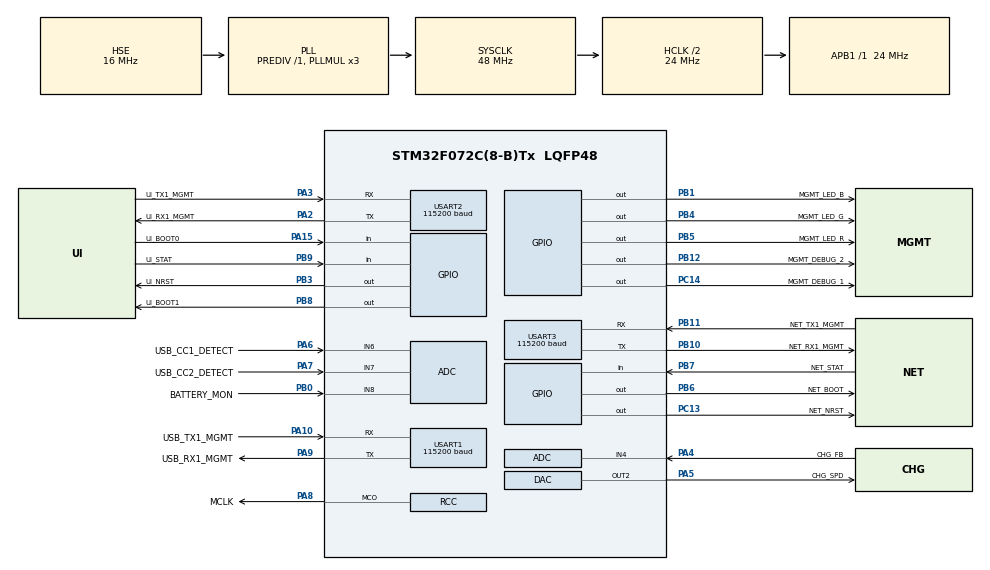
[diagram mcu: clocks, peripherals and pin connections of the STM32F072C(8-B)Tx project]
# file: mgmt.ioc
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Dma.Request0=USART2_RX
Dma.Request1=USART2_TX
Dma.Request2=USART3_RX
Dma.Request3=USART3_TX
Dma.Request4=USART1_RX
Dma.Request5=USART1_TX
Dma.USART1_RX.4.Direction=DMA_PERIPH_TO_MEMORY
Dma.USART1_RX.4.Instance=DMA1_Channel3
Dma.USART1_RX.4.MemDataAlignment=DMA_MDATAALIGN_BYTE
Dma.USART1_RX.4.MemInc=DMA_MINC_ENABLE
Dma.USART1_RX.4.Mode=DMA_CIRCULAR
Dma.USART1_RX.4.PeriphDataAlignment=DMA_PDATAALIGN_BYTE
Dma.USART1_RX.4.PeriphInc=DMA_PINC_DISABLE
Dma.USART1_RX.4.Priority=DMA_PRIORITY_LOW
Dma.USART1_TX.5.Direction=DMA_MEMORY_TO_PERIPH
Dma.USART1_TX.5.Instance=DMA1_Channel2
Dma.USART1_TX.5.MemDataAlignment=DMA_MDATAALIGN_BYTE
Dma.USART1_TX.5.MemInc=DMA_MINC_ENABLE
Dma.USART1_TX.5.Mode=DMA_NORMAL
Dma.USART1_TX.5.PeriphDataAlignment=DMA_PDATAALIGN_BYTE
Dma.USART1_TX.5.PeriphInc=DMA_PINC_DISABLE
Dma.USART1_TX.5.Priority=DMA_PRIORITY_LOW
Dma.USART2_RX.0.Direction=DMA_PERIPH_TO_MEMORY
Dma.USART2_RX.0.Instance=DMA1_Channel5
Dma.USART2_RX.0.MemDataAlignment=DMA_MDATAALIGN_BYTE
Dma.USART2_RX.0.MemInc=DMA_MINC_ENABLE
Dma.USART2_RX.0.Mode=DMA_CIRCULAR
Dma.USART2_RX.0.PeriphDataAlignment=DMA_PDATAALIGN_BYTE
Dma.USART2_RX.0.PeriphInc=DMA_PINC_DISABLE
Dma.USART2_RX.0.Priority=DMA_PRIORITY_LOW
Dma.USART2_TX.1.Direction=DMA_MEMORY_TO_PERIPH
Dma.USART2_TX.1.Instance=DMA1_Channel4
Dma.USART2_TX.1.MemDataAlignment=DMA_MDATAALIGN_BYTE
Dma.USART2_TX.1.MemInc=DMA_MINC_ENABLE
Dma.USART2_TX.1.Mode=DMA_NORMAL
Dma.USART2_TX.1.PeriphDataAlignment=DMA_PDATAALIGN_BYTE
Dma.USART2_TX.1.PeriphInc=DMA_PINC_DISABLE
Dma.USART2_TX.1.Priority=DMA_PRIORITY_LOW
Dma.USART3_RX.2.Direction=DMA_PERIPH_TO_MEMORY
Dma.USART3_RX.2.Instance=DMA1_Channel6
Dma.USART3_RX.2.MemDataAlignment=DMA_MDATAALIGN_BYTE
Dma.USART3_RX.2.MemInc=DMA_MINC_ENABLE
Dma.USART3_RX.2.Mode=DMA_CIRCULAR
Dma.USART3_RX.2.PeriphDataAlignment=DMA_PDATAALIGN_BYTE
Dma.USART3_RX.2.PeriphInc=DMA_PINC_DISABLE
Dma.USART3_RX.2.Priority=DMA_PRIORITY_LOW
Dma.USART3_TX.3.Direction=DMA_MEMORY_TO_PERIPH
Dma.USART3_TX.3.Instance=DMA1_Channel7
Dma.USART3_TX.3.MemDataAlignment=DMA_MDATAALIGN_BYTE
Dma.USART3_TX.3.MemInc=DMA_MINC_ENABLE
Dma.USART3_TX.3.Mode=DMA_NORMAL
Dma.USART3_TX.3.PeriphDataAlignment=DMA_PDATAALIGN_BYTE
Dma.USART3_TX.3.PeriphInc=DMA_PINC_DISABLE
Dma.USART3_TX.3.Priority=DMA_PRIORITY_LOW
Mcu.Family=STM32F0
Mcu.Name=STM32F072C(8-B)Tx
Mcu.Package=LQFP48
NVIC.DMA1_Channel2_3_IRQn=true\:0\:0\:false\:false\:true\:false\:true\:true
NVIC.DMA1_Channel4_5_6_7_IRQn=true\:0\:0\:false\:false\:true\:false\:true\:true
NVIC.USART1_IRQn=true\:0\:0\:false\:false\:true\:true\:true\:true
NVIC.USART2_IRQn=true\:0\:0\:false\:false\:true\:true\:true\:true
NVIC.USART3_4_IRQn=true\:0\:0\:false\:false\:true\:true\:true\:true
PA10.GPIO_Label=USB_TX1_MGMT
PA10.Mode=Asynchronous
PA10.Signal=USART1_RX
PA13.Mode=Serial_Wire
PA13.Signal=SYS_SWDIO
PA14.Mode=Serial_Wire
PA14.Signal=SYS_SWCLK
PA15.GPIO_Label=UI_BOOT0
PA15.Signal=GPIO_Input
PA2.GPIO_Label=UI_RX1_MGMT
PA2.Mode=Asynchronous
PA2.Signal=USART2_TX
PA3.GPIO_Label=UI_TX1_MGMT
PA3.Mode=Asynchronous
PA3.Signal=USART2_RX
PA4.GPIO_Label=CHG_FB
PA4.Mode=IN4
PA4.Signal=ADC_IN4
PA5.GPIO_Label=CHG_SPD
PA5.Signal=COMP_DAC2_group
PA6.GPIO_Label=USB_CC1_DETECT
PA6.Mode=IN6
PA6.Signal=ADC_IN6
PA7.GPIO_Label=USB_CC2_DETECT
PA7.Mode=IN7
PA7.Signal=ADC_IN7
PA8.GPIO_Label=MCLK
PA8.Mode=Clock-out
PA8.Signal=RCC_MCO
PA9.GPIO_Label=USB_RX1_MGMT
PA9.Mode=Asynchronous
PA9.Signal=USART1_TX
PB0.GPIO_Label=BATTERY_MON
PB0.Mode=IN8
PB0.Signal=ADC_IN8
PB1.GPIO_Label=MGMT_LED_B
PB1.Signal=GPIO_Output
PB10.GPIO_Label=NET_RX1_MGMT
PB10.Mode=Asynchronous
PB10.Signal=USART3_TX
PB11.GPIO_Label=NET_TX1_MGMT
PB11.Mode=Asynchronous
PB11.Signal=USART3_RX
PB12.GPIO_Label=MGMT_DEBUG_2
PB12.Signal=GPIO_Output
PB3.GPIO_Label=UI_NRST
PB3.Signal=GPIO_Output
PB4.GPIO_Label=MGMT_LED_G
PB4.Signal=GPIO_Output
PB5.GPIO_Label=MGMT_LED_R
PB5.Signal=GPIO_Output
PB6.GPIO_Label=NET_BOOT
PB6.Signal=GPIO_Output
PB7.GPIO_Label=NET_STAT
PB7.Signal=GPIO_Input
PB8.GPIO_Label=UI_BOOT1
PB8.Signal=GPIO_Output
PB9.GPIO_Label=UI_STAT
PB9.Signal=GPIO_Input
PC13.GPIO_Label=NET_NRST
PC13.Signal=GPIO_Output
PC14-OSC32_IN.GPIO_Label=MGMT_DEBUG_1
PC14-OSC32_IN.Signal=GPIO_Output
PF0-OSC_IN.Mode=HSE-External-Oscillator
PF0-OSC_IN.Signal=RCC_OSC_IN
PF1-OSC_OUT.Mode=HSE-External-Oscillator
PF1-OSC_OUT.Signal=RCC_OSC_OUT
ProjectManager.HeapSize=0x200
ProjectManager.StackSize=0x400
ProjectManager.TargetToolchain=Makefile
RCC.AHBCLKDivider=RCC_SYSCLK_DIV2
RCC.AHBFreq_Value=24000000
RCC.APB1Freq_Value=24000000
RCC.APB1TimFreq_Value=24000000
RCC.HCLKFreq_Value=24000000
RCC.HSE_VALUE=16000000
RCC.PLLMUL=RCC_PLL_MUL3
RCC.PLLSourceVirtual=RCC_PLLSOURCE_HSE
RCC.RCC_MCOMult_Clock_Source_FROM_PLLMUL=RCC_MCO1SOURCE_PLLCLK_DIV2
RCC.RCC_MCOSource=RCC_MCO1SOURCE_PLLCLK_DIV2
RCC.SYSCLKFreq_VALUE=48000000
RCC.SYSCLKSource=RCC_SYSCLKSOURCE_PLLCLK
SH.COMP_DAC2_group.0=DAC_OUT2,DAC_OUT2
TIM3.Period=48000
TIM3.Prescaler=0
USART1.BaudRate=115200
USART1.VirtualMode-Asynchronous=VM_ASYNC
USART2.BaudRate=115200
USART2.Parity=PARITY_EVEN
USART2.VirtualMode-Asynchronous=VM_ASYNC
USART2.WordLength=WORDLENGTH_9B
USART3.BaudRate=115200
USART3.Parity=PARITY_NONE
USART3.VirtualMode-Asynchronous=VM_ASYNC
USART3.WordLength=WORDLENGTH_8B
VP_TIM3_VS_ClockSourceITR.Mode=TriggerSource_ITR0
board=custom

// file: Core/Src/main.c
/* USER CODE BEGIN Header */
/**
 ******************************************************************************
 * @file           : main.c
 * @brief          : Main program body
 ******************************************************************************
 * @attention
 *
 * Copyright (c) 2024 STMicroelectronics.
 * All rights reserved.
 *
 * This software is licensed under terms that can be found in the LICENSE file
 * in the root directory of this software component.
 * If no LICENSE file comes with this software, it is provided AS-IS.
 *
 ******************************************************************************
 */
/* USER CODE END Header */
#include "main.h"

ADC_HandleTypeDef hadc;

DAC_HandleTypeDef hdac;

TIM_HandleTypeDef htim3;

UART_HandleTypeDef huart1;
UART_HandleTypeDef huart2;
UART_HandleTypeDef huart3;
DMA_HandleTypeDef hdma_usart1_rx;
DMA_HandleTypeDef hdma_usart1_tx;
DMA_HandleTypeDef hdma_usart2_rx;
DMA_HandleTypeDef hdma_usart2_tx;
DMA_HandleTypeDef hdma_usart3_rx;
DMA_HandleTypeDef hdma_usart3_tx;

void SystemClock_Config(void);
static void MX_GPIO_Init(void);
static void MX_DMA_Init(void);
static void MX_TIM3_Init(void);
static void MX_USART2_UART_Init(void);
static void MX_USART3_UART_Init(void);
static void MX_USART1_UART_Init(void);
static void MX_ADC_Init(void);
static void MX_DAC_Init(void);
/* USER CODE BEGIN PFP */

GPIO_TypeDef* PortA()
{
    return GPIOA;
}

GPIO_TypeDef* PortB()
{
    return GPIOB;
}

GPIO_TypeDef* PortC()
{
    return GPIOC;
}

const gpio_t led_r()
{
    return (gpio_t){MGMT_LED_R_GPIO_Port, MGMT_LED_R_Pin};
}

const gpio_t led_g()
{
    return (gpio_t){MGMT_LED_G_GPIO_Port, MGMT_LED_G_Pin};
}

const gpio_t led_b()
{
    return (gpio_t){MGMT_LED_B_GPIO_Port, MGMT_LED_B_Pin};
}

UART_HandleTypeDef* usb_uart()
{
    return &huart1;
}

UART_HandleTypeDef* ui_uart()
{
    return &huart2;
}

UART_HandleTypeDef* net_uart()
{
    return &huart3;
}

int app_main(void);

/* USER CODE END PFP */

int main(void)
{

    /* MCU Configuration--------------------------------------------------------*/

    /* Reset of all peripherals, Initializes the Flash interface and the Systick. */
    HAL_Init();

    /* Configure the system clock */
    SystemClock_Config();

    /* Initialize all configured peripherals */
    MX_GPIO_Init();
    MX_DMA_Init();
    MX_TIM3_Init();
    MX_USART2_UART_Init();
    MX_USART3_UART_Init();
    MX_USART1_UART_Init();
    MX_ADC_Init();
    MX_DAC_Init();

    /* Infinite loop */
    /* USER CODE BEGIN WHILE */

    HAL_GPIO_WritePin(MGMT_LED_R_GPIO_Port, MGMT_LED_R_Pin, GPIO_PIN_RESET);
    HAL_GPIO_WritePin(MGMT_LED_G_GPIO_Port, MGMT_LED_G_Pin, GPIO_PIN_SET);
    HAL_GPIO_WritePin(MGMT_LED_B_GPIO_Port, MGMT_LED_B_Pin, GPIO_PIN_SET);
    while (1)
    {
        /* USER CODE END WHILE */

        /* USER CODE BEGIN 3 */
        app_main();

        HAL_Delay(10);
    }
    /* USER CODE END 3 */
}

void SystemClock_Config(void)
{
    RCC_OscInitTypeDef RCC_OscInitStruct = {0};
    RCC_ClkInitTypeDef RCC_ClkInitStruct = {0};
    RCC_PeriphCLKInitTypeDef PeriphClkInit = {0};

    /** Initializes the RCC Oscillators according to the specified parameters
     * in the RCC_OscInitTypeDef structure.
     */
    RCC_OscInitStruct.OscillatorType = RCC_OSCILLATORTYPE_HSI14 | RCC_OSCILLATORTYPE_HSE;
    RCC_OscInitStruct.HSEState = RCC_HSE_ON;
    RCC_OscInitStruct.HSI14State = RCC_HSI14_ON;
    RCC_OscInitStruct.HSI14CalibrationValue = 16;
    RCC_OscInitStruct.PLL.PLLState = RCC_PLL_ON;
    RCC_OscInitStruct.PLL.PLLSource = RCC_PLLSOURCE_HSE;
    RCC_OscInitStruct.PLL.PLLMUL = RCC_PLL_MUL3;
    RCC_OscInitStruct.PLL.PREDIV = RCC_PREDIV_DIV1;
    if (HAL_RCC_OscConfig(&RCC_OscInitStruct) != HAL_OK)
    {
        Error_Handler();
    }

    /** Initializes the CPU, AHB and APB buses clocks
     */
    RCC_ClkInitStruct.ClockType = RCC_CLOCKTYPE_HCLK | RCC_CLOCKTYPE_SYSCLK | RCC_CLOCKTYPE_PCLK1;
    RCC_ClkInitStruct.SYSCLKSource = RCC_SYSCLKSOURCE_PLLCLK;
    RCC_ClkInitStruct.AHBCLKDivider = RCC_SYSCLK_DIV2;
    RCC_ClkInitStruct.APB1CLKDivider = RCC_HCLK_DIV1;

    if (HAL_RCC_ClockConfig(&RCC_ClkInitStruct, FLASH_LATENCY_1) != HAL_OK)
    {
        Error_Handler();
    }
    PeriphClkInit.PeriphClockSelection = RCC_PERIPHCLK_USART1 | RCC_PERIPHCLK_USART2;
    PeriphClkInit.Usart1ClockSelection = RCC_USART1CLKSOURCE_PCLK1;
    PeriphClkInit.Usart2ClockSelection = RCC_USART2CLKSOURCE_PCLK1;
    if (HAL_RCCEx_PeriphCLKConfig(&PeriphClkInit) != HAL_OK)
    {
        Error_Handler();
    }
    HAL_RCC_MCOConfig(RCC_MCO, RCC_MCO1SOURCE_PLLCLK_DIV2, RCC_MCODIV_1);
}

static void MX_ADC_Init(void)
{

    ADC_ChannelConfTypeDef sConfig = {0};

    /** Configure the global features of the ADC (Clock, Resolution, Data Alignment and number of
     * conversion)
     */
    hadc.Instance = ADC1;
    hadc.Init.ClockPrescaler = ADC_CLOCK_ASYNC_DIV1;
    hadc.Init.Resolution = ADC_RESOLUTION_12B;
    hadc.Init.DataAlign = ADC_DATAALIGN_RIGHT;
    hadc.Init.ScanConvMode = ADC_SCAN_DIRECTION_FORWARD;
    hadc.Init.EOCSelection = ADC_EOC_SINGLE_CONV;
    hadc.Init.LowPowerAutoWait = DISABLE;
    hadc.Init.LowPowerAutoPowerOff = DISABLE;
    hadc.Init.ContinuousConvMode = DISABLE;
    hadc.Init.DiscontinuousConvMode = DISABLE;
    hadc.Init.ExternalTrigConv = ADC_SOFTWARE_START;
    hadc.Init.ExternalTrigConvEdge = ADC_EXTERNALTRIGCONVEDGE_NONE;
    hadc.Init.DMAContinuousRequests = DISABLE;
    hadc.Init.Overrun = ADC_OVR_DATA_PRESERVED;
    if (HAL_ADC_Init(&hadc) != HAL_OK)
    {
        Error_Handler();
    }

    /** Configure for the selected ADC regular channel to be converted.
     */
    sConfig.Channel = ADC_CHANNEL_4;
    sConfig.Rank = ADC_RANK_CHANNEL_NUMBER;
    sConfig.SamplingTime = ADC_SAMPLETIME_1CYCLE_5;
    if (HAL_ADC_ConfigChannel(&hadc, &sConfig) != HAL_OK)
    {
        Error_Handler();
    }

    /** Configure for the selected ADC regular channel to be converted.
     */
    sConfig.Channel = ADC_CHANNEL_6;
    if (HAL_ADC_ConfigChannel(&hadc, &sConfig) != HAL_OK)
    {
        Error_Handler();
    }

    /** Configure for the selected ADC regular channel to be converted.
     */
    sConfig.Channel = ADC_CHANNEL_7;
    if (HAL_ADC_ConfigChannel(&hadc, &sConfig) != HAL_OK)
    {
        Error_Handler();
    }

    /** Configure for the selected ADC regular channel to be converted.
     */
    sConfig.Channel = ADC_CHANNEL_8;
    if (HAL_ADC_ConfigChannel(&hadc, &sConfig) != HAL_OK)
    {
        Error_Handler();
    }
}

static void MX_DAC_Init(void)
{

    DAC_ChannelConfTypeDef sConfig = {0};

    /** DAC Initialization
     */
    hdac.Instance = DAC;
    if (HAL_DAC_Init(&hdac) != HAL_OK)
    {
        Error_Handler();
    }

    /** DAC channel OUT2 config
     */
    sConfig.DAC_Trigger = DAC_TRIGGER_NONE;
    sConfig.DAC_OutputBuffer = DAC_OUTPUTBUFFER_ENABLE;
    if (HAL_DAC_ConfigChannel(&hdac, &sConfig, DAC_CHANNEL_2) != HAL_OK)
    {
        Error_Handler();
    }
}

static void MX_TIM3_Init(void)
{

    TIM_SlaveConfigTypeDef sSlaveConfig = {0};
    TIM_MasterConfigTypeDef sMasterConfig = {0};

    htim3.Instance = TIM3;
    htim3.Init.Prescaler = 0;
    htim3.Init.CounterMode = TIM_COUNTERMODE_UP;
    htim3.Init.Period = 48000;
    htim3.Init.ClockDivision = TIM_CLOCKDIVISION_DIV1;
    htim3.Init.AutoReloadPreload = TIM_AUTORELOAD_PRELOAD_DISABLE;
    if (HAL_TIM_Base_Init(&htim3) != HAL_OK)
    {
        Error_Handler();
    }
    sSlaveConfig.SlaveMode = TIM_SLAVEMODE_DISABLE;
    sSlaveConfig.InputTrigger = TIM_TS_ITR0;
    if (HAL_TIM_SlaveConfigSynchro(&htim3, &sSlaveConfig) != HAL_OK)
    {
        Error_Handler();
    }
    sMasterConfig.MasterOutputTrigger = TIM_TRGO_RESET;
    sMasterConfig.MasterSlaveMode = TIM_MASTERSLAVEMODE_DISABLE;
    if (HAL_TIMEx_MasterConfigSynchronization(&htim3, &sMasterConfig) != HAL_OK)
    {
        Error_Handler();
    }
}

static void MX_USART1_UART_Init(void)
{

    huart1.Instance = USART1;
    huart1.Init.BaudRate = 115200;
    huart1.Init.WordLength = UART_WORDLENGTH_8B;
    huart1.Init.StopBits = UART_STOPBITS_1;
    huart1.Init.Parity = UART_PARITY_NONE;
    huart1.Init.Mode = UART_MODE_TX_RX;
    huart1.Init.HwFlowCtl = UART_HWCONTROL_NONE;
    huart1.Init.OverSampling = UART_OVERSAMPLING_16;
    huart1.Init.OneBitSampling = UART_ONE_BIT_SAMPLE_DISABLE;
    huart1.AdvancedInit.AdvFeatureInit = UART_ADVFEATURE_NO_INIT;
    if (HAL_UART_Init(&huart1) != HAL_OK)
    {
        Error_Handler();
    }
}

static void MX_USART2_UART_Init(void)
{

    huart2.Instance = USART2;
    huart2.Init.BaudRate = 115200;
    huart2.Init.WordLength = UART_WORDLENGTH_9B;
    huart2.Init.StopBits = UART_STOPBITS_1;
    huart2.Init.Parity = UART_PARITY_EVEN;
    huart2.Init.Mode = UART_MODE_TX_RX;
    huart2.Init.HwFlowCtl = UART_HWCONTROL_NONE;
    huart2.Init.OverSampling = UART_OVERSAMPLING_16;
    huart2.Init.OneBitSampling = UART_ONE_BIT_SAMPLE_DISABLE;
    huart2.AdvancedInit.AdvFeatureInit = UART_ADVFEATURE_NO_INIT;
    if (HAL_UART_Init(&huart2) != HAL_OK)
    {
        Error_Handler();
    }
}

static void MX_USART3_UART_Init(void)
{

    huart3.Instance = USART3;
    huart3.Init.BaudRate = 115200;
    huart3.Init.WordLength = UART_WORDLENGTH_8B;
    huart3.Init.StopBits = UART_STOPBITS_1;
    huart3.Init.Parity = UART_PARITY_NONE;
    huart3.Init.Mode = UART_MODE_TX_RX;
    huart3.Init.HwFlowCtl = UART_HWCONTROL_NONE;
    huart3.Init.OverSampling = UART_OVERSAMPLING_16;
    huart3.Init.OneBitSampling = UART_ONE_BIT_SAMPLE_DISABLE;
    huart3.AdvancedInit.AdvFeatureInit = UART_ADVFEATURE_NO_INIT;
    if (HAL_UART_Init(&huart3) != HAL_OK)
    {
        Error_Handler();
    }
}

static void MX_DMA_Init(void)
{

    /* DMA controller clock enable */
    __HAL_RCC_DMA1_CLK_ENABLE();

    /* DMA interrupt init */
    /* DMA1_Channel2_3_IRQn interrupt configuration */
    HAL_NVIC_SetPriority(DMA1_Channel2_3_IRQn, 0, 0);
    HAL_NVIC_EnableIRQ(DMA1_Channel2_3_IRQn);
    /* DMA1_Channel4_5_6_7_IRQn interrupt configuration */
    HAL_NVIC_SetPriority(DMA1_Channel4_5_6_7_IRQn, 0, 0);
    HAL_NVIC_EnableIRQ(DMA1_Channel4_5_6_7_IRQn);
}

static void MX_GPIO_Init(void)
{
    GPIO_InitTypeDef GPIO_InitStruct = {0};

    /* GPIO Ports Clock Enable */
    __HAL_RCC_GPIOC_CLK_ENABLE();
    __HAL_RCC_GPIOF_CLK_ENABLE();
    __HAL_RCC_GPIOA_CLK_ENABLE();
    __HAL_RCC_GPIOB_CLK_ENABLE();

    /*Configure GPIO pin Output Level */
    HAL_GPIO_WritePin(GPIOC, NET_NRST_Pin | MGMT_DEBUG_1_Pin, GPIO_PIN_RESET);

    /*Configure GPIO pin Output Level */
    HAL_GPIO_WritePin(GPIOB,
                      MGMT_LED_B_Pin | MGMT_DEBUG_2_Pin | UI_NRST_Pin | MGMT_LED_G_Pin
                          | MGMT_LED_R_Pin | NET_BOOT_Pin | UI_BOOT1_Pin,
                      GPIO_PIN_RESET);

    /*Configure GPIO pins : NET_NRST_Pin MGMT_DEBUG_1_Pin */
    GPIO_InitStruct.Pin = NET_NRST_Pin | MGMT_DEBUG_1_Pin;
    GPIO_InitStruct.Mode = GPIO_MODE_OUTPUT_PP;
    GPIO_InitStruct.Pull = GPIO_NOPULL;
    GPIO_InitStruct.Speed = GPIO_SPEED_FREQ_LOW;
    HAL_GPIO_Init(GPIOC, &GPIO_InitStruct);

    /*Configure GPIO pins : MGMT_LED_B_Pin MGMT_DEBUG_2_Pin UI_NRST_Pin MGMT_LED_G_Pin
                             MGMT_LED_R_Pin NET_BOOT_Pin UI_BOOT1_Pin */
    GPIO_InitStruct.Pin = MGMT_LED_B_Pin | MGMT_DEBUG_2_Pin | UI_NRST_Pin | MGMT_LED_G_Pin
                        | MGMT_LED_R_Pin | NET_BOOT_Pin | UI_BOOT1_Pin;
    GPIO_InitStruct.Mode = GPIO_MODE_OUTPUT_PP;
    GPIO_InitStruct.Pull = GPIO_NOPULL;
    GPIO_InitStruct.Speed = GPIO_SPEED_FREQ_LOW;
    HAL_GPIO_Init(GPIOB, &GPIO_InitStruct);

    /*Configure GPIO pin : MCLK_Pin */
    GPIO_InitStruct.Pin = MCLK_Pin;
    GPIO_InitStruct.Mode = GPIO_MODE_AF_PP;
    GPIO_InitStruct.Pull = GPIO_NOPULL;
    GPIO_InitStruct.Speed = GPIO_SPEED_FREQ_LOW;
    GPIO_InitStruct.Alternate = GPIO_AF0_MCO;
    HAL_GPIO_Init(MCLK_GPIO_Port, &GPIO_InitStruct);

    /*Configure GPIO pin : UI_BOOT0_Pin */
    GPIO_InitStruct.Pin = UI_BOOT0_Pin;
    GPIO_InitStruct.Mode = GPIO_MODE_INPUT;
    GPIO_InitStruct.Pull = GPIO_NOPULL;
    HAL_GPIO_Init(UI_BOOT0_GPIO_Port, &GPIO_InitStruct);

    /*Configure GPIO pins : NET_STAT_Pin UI_STAT_Pin */
    GPIO_InitStruct.Pin = NET_STAT_Pin | UI_STAT_Pin;
    GPIO_InitStruct.Mode = GPIO_MODE_INPUT;
    GPIO_InitStruct.Pull = GPIO_NOPULL;
    HAL_GPIO_Init(GPIOB, &GPIO_InitStruct);

}

void Error_Handler(void)
{
    while (1)
    {
    }
}
